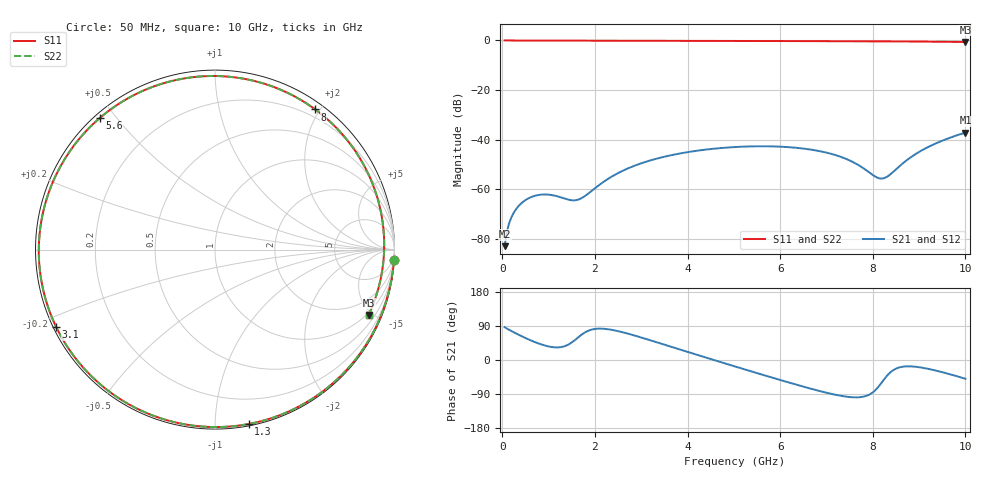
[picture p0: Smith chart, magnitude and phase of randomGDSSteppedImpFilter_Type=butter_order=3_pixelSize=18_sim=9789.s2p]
! freq	dB(S11)	phase(S11)	dB(S12)	phase(S12)
!  dB(S21)	phase(S21)	dB(S22)	phase(S22)
!S-par simulation data
#  GHz  S  DB  R 50
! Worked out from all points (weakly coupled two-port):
!   200 points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, 50 MHz to 10 GHz, reference 50 ohm
!   highest |S21| = -37.17 dB at 10 GHz (marker M1); lowest = -83.0 dB at 50 MHz (marker M2)
!   lowest |S11| = -0.6 dB at 10 GHz (marker M3), VSWR 27.53, Z = 44 - j237 ohm
!   |S11| at or under -10 dB: nowhere
!   |S22| runs from -0.6 to 0.0 dB; largest |S21 - S12| = 0
!   S11 on the Smith chart (normalised r, x): 50 MHz: 0, -36; 1.3 GHz: 0.01, -1.21; 3.1 GHz: 0.01, -0.23; 5.6 GHz: 0.02, +0.45; 8 GHz: 0.10, +1.94; 10 GHz: 0.88, -4.74
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0.05  -0.01 -3.2  -82.96 86.4  -82.96 86.4  -0.01 -3.2
0.15  -0.02 -9.8  -73.57 79.5  -73.57 79.5  -0.02 -9.8
0.25  -0.03 -16.3  -69.39 73.0  -69.39 73.0  -0.03 -16.3
0.5  -0.05 -32.5  -64.37 58.0  -64.37 58.0  -0.05 -32.5
0.85  -0.07 -54.0  -62.16 40.7  -62.16 40.7  -0.07 -53.9
1.3  -0.09 -79.1  -63.48 34.8  -63.48 34.8  -0.09 -79.1
1.55  -0.10 -91.8  -64.49 50.9  -64.49 50.9  -0.10 -91.8
1.75  -0.11 -101.3  -63.17 70.1  -63.17 70.1  -0.11 -101.3
2.4  -0.12 -128.8  -54.51 78.7  -54.51 78.7  -0.12 -128.8
3.1  -0.14 -154.0  -48.93 55.7  -48.93 55.7  -0.14 -153.9
3.4  -0.14 -163.8  -47.34 44.4  -47.34 44.4  -0.14 -163.7
4.2  -0.17 171.8  -44.48 13.9  -44.48 13.9  -0.17 171.8
5.05  -0.20 147.2  -42.96 -18.0  -42.96 -18.0  -0.20 147.2
5.6  -0.22 131.3  -42.67 -38.3  -42.67 -38.3  -0.22 131.3
6.7  -0.28 98.1  -44.12 -77.0  -44.12 -77.0  -0.28 98.1
7.4  -0.31 75.3  -47.58 -96.2  -47.58 -96.2  -0.31 75.3
8  -0.35 54.5  -54.23 -85.5  -54.23 -85.5  -0.35 54.5
8.2  -0.37 47.2  -55.70 -58.2  -55.70 -58.2  -0.37 47.2
8.35  -0.38 41.7  -54.43 -35.9  -54.43 -35.9  -0.38 41.7
8.8  -0.43 24.7  -47.38 -16.7  -47.38 -16.7  -0.43 24.8
9.2  -0.48 9.1  -42.93 -23.4  -42.93 -23.4  -0.48 9.2
10  -0.63 -23.1  -37.17 -49.5  -37.17 -49.5  -0.63 -23.0
